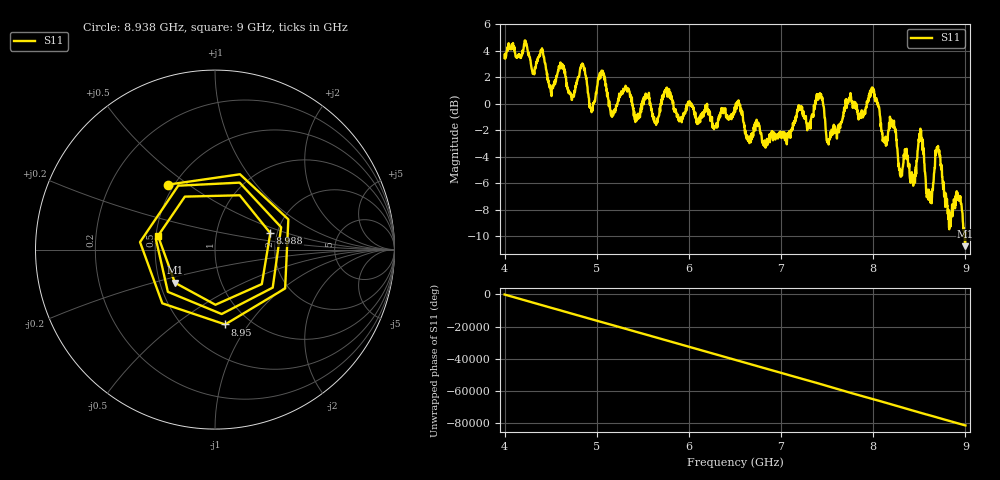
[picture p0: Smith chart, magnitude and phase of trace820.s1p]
! Created with skrf 1.8.0 (http://scikit-rf.org).
# Hz S RI R 50.0
!freq ReS11 ImS11
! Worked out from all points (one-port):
!   1601 points, 4 GHz to 9 GHz, reference 50 ohm
!   lowest |S11| = -10.8 dB at 8.997 GHz (marker M1), VSWR 1.82, Z = 29.9 - j12.1 ohm
!   |S11| at or under -10 dB: 8.992382 GHz to 8.999243 GHz (6.86 MHz wide, 0.0763 % of centre)
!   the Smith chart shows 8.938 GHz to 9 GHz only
!   S11 on the Smith chart (normalised r, x): 8.938 GHz: 0.46, +0.42; 8.95 GHz: 0.77, -0.78; 8.988 GHz: 1.84, +0.38; 9 GHz: 0.51, +0.09
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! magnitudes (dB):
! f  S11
! 4 GHz  3.5
! 4.625 GHz  3.0
! 4.731 GHz  0.3
! 4.85 GHz  2.9
! 4.944 GHz  -0.6
! 5.05 GHz  2.2
! 5.169 GHz  -0.8
! 5.25 GHz  0.7
! 5.875 GHz  -1.0
! 6.5 GHz  -0.6
! 6.647 GHz  -2.7
! 7.125 GHz  -1.9
! 7.412 GHz  0.7
! 7.519 GHz  -2.7
! 7.75 GHz  0.5
! 7.991 GHz  0.9
! 8.112 GHz  -2.7
! 8.375 GHz  -4.0
! 8.441 GHz  -6.0
! 8.519 GHz  -2.0
! 8.612 GHz  -7.2
! 8.7 GHz  -3.5
! 8.828 GHz  -8.9
! 8.938 GHz  -7.0
! 8.95 GHz  -7.5
! 8.988 GHz  -9.9
! 8.997 GHz  -10.8
! 9 GHz  -9.7
